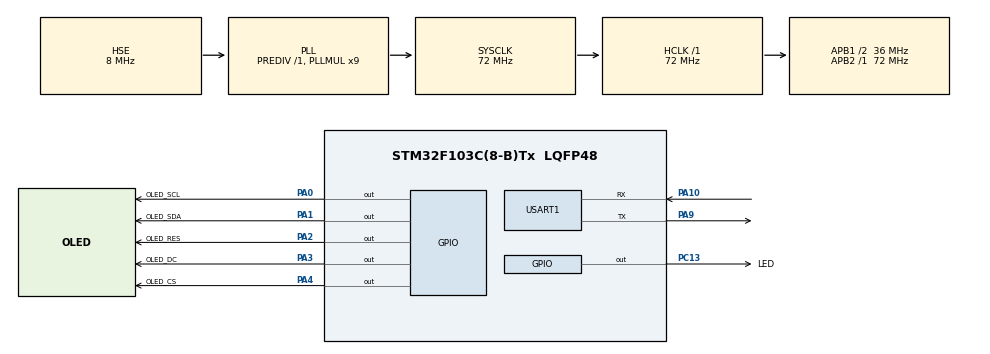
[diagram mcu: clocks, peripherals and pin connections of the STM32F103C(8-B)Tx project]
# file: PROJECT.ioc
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Dma.Request0=USART1_RX
Dma.USART1_RX.0.Direction=DMA_PERIPH_TO_MEMORY
Dma.USART1_RX.0.Instance=DMA1_Channel5
Dma.USART1_RX.0.MemDataAlignment=DMA_MDATAALIGN_BYTE
Dma.USART1_RX.0.MemInc=DMA_MINC_ENABLE
Dma.USART1_RX.0.Mode=DMA_NORMAL
Dma.USART1_RX.0.PeriphDataAlignment=DMA_PDATAALIGN_BYTE
Dma.USART1_RX.0.PeriphInc=DMA_PINC_DISABLE
Dma.USART1_RX.0.Priority=DMA_PRIORITY_HIGH
Mcu.Family=STM32F1
Mcu.Name=STM32F103C(8-B)Tx
Mcu.Package=LQFP48
NVIC.DMA1_Channel5_IRQn=true\:0\:0\:false\:false\:true\:false\:true\:true
NVIC.PriorityGroup=NVIC_PRIORITYGROUP_4
NVIC.USART1_IRQn=true\:1\:0\:true\:false\:true\:true\:true\:true
PA0-WKUP.GPIO_Label=OLED_SCL
PA0-WKUP.GPIO_Speed=GPIO_SPEED_FREQ_HIGH
PA0-WKUP.PinState=GPIO_PIN_SET
PA0-WKUP.Signal=GPIO_Output
PA1.GPIO_Label=OLED_SDA
PA1.GPIO_Speed=GPIO_SPEED_FREQ_HIGH
PA1.PinState=GPIO_PIN_SET
PA1.Signal=GPIO_Output
PA10.Mode=Asynchronous
PA10.Signal=USART1_RX
PA13.Mode=Serial_Wire
PA13.Signal=SYS_JTMS-SWDIO
PA14.Mode=Serial_Wire
PA14.Signal=SYS_JTCK-SWCLK
PA2.GPIO_Label=OLED_RES
PA2.GPIO_Speed=GPIO_SPEED_FREQ_HIGH
PA2.PinState=GPIO_PIN_SET
PA2.Signal=GPIO_Output
PA3.GPIO_Label=OLED_DC
PA3.GPIO_Speed=GPIO_SPEED_FREQ_HIGH
PA3.PinState=GPIO_PIN_SET
PA3.Signal=GPIO_Output
PA4.GPIO_Label=OLED_CS
PA4.GPIO_Speed=GPIO_SPEED_FREQ_HIGH
PA4.PinState=GPIO_PIN_SET
PA4.Signal=GPIO_Output
PA9.Mode=Asynchronous
PA9.Signal=USART1_TX
PC13-TAMPER-RTC.GPIO_Label=LED
PC13-TAMPER-RTC.Signal=GPIO_Output
PC14-OSC32_IN.Mode=LSE-External-Oscillator
PC14-OSC32_IN.Signal=RCC_OSC32_IN
PC15-OSC32_OUT.Mode=LSE-External-Oscillator
PC15-OSC32_OUT.Signal=RCC_OSC32_OUT
PD0-OSC_IN.Mode=HSE-External-Oscillator
PD0-OSC_IN.Signal=RCC_OSC_IN
PD1-OSC_OUT.Mode=HSE-External-Oscillator
PD1-OSC_OUT.Signal=RCC_OSC_OUT
ProjectManager.HeapSize=0x200
ProjectManager.StackSize=0x400
ProjectManager.TargetToolchain=MDK-ARM V5.32
RCC.ADCPresc=RCC_ADCPCLK2_DIV6
RCC.AHBFreq_Value=72000000
RCC.APB1CLKDivider=RCC_HCLK_DIV2
RCC.APB1Freq_Value=36000000
RCC.APB1TimFreq_Value=72000000
RCC.APB2Freq_Value=72000000
RCC.APB2TimFreq_Value=72000000
RCC.HCLKFreq_Value=72000000
RCC.PLLMUL=RCC_PLL_MUL9
RCC.PLLSourceVirtual=RCC_PLLSOURCE_HSE
RCC.SYSCLKFreq_VALUE=72000000
RCC.SYSCLKSource=RCC_SYSCLKSOURCE_PLLCLK
RCC.USBFreq_Value=72000000
USART1.VirtualMode=VM_ASYNC
board=custom

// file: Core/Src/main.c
/* USER CODE BEGIN Header */
/**
  ******************************************************************************
  * @file           : main.c
  * @brief          : Main program body
  ******************************************************************************
  * @attention
  *
  * Copyright (c) 2024 STMicroelectronics.
  * All rights reserved.
  *
  * This software is licensed under terms that can be found in the LICENSE file
  * in the root directory of this software component.
  * If no LICENSE file comes with this software, it is provided AS-IS.
  *
  ******************************************************************************
  */
/* USER CODE END Header */
#include "main.h"
#include "dma.h"
#include "usart.h"
#include "gpio.h"

/* USER CODE BEGIN Includes */

#include "stdio.h"
#include "bsp_uart.h"

/* USER CODE END Includes */

/* USER CODE BEGIN PTD */

uint8_t app_debug_rx_buff[1024];

/* USER CODE END PTD */

void SystemClock_Config(void);

int main(void)
{
    /* USER CODE BEGIN 1 */

    uint32_t time_cnt;

    /* USER CODE END 1 */

    /* MCU Configuration--------------------------------------------------------*/

    /* Reset of all peripherals, Initializes the Flash interface and the Systick. */
    HAL_Init();

    /* Configure the system clock */
    SystemClock_Config();

    /* Initialize all configured peripherals */
    MX_GPIO_Init();
    MX_DMA_Init();
    MX_USART1_UART_Init();
    /* USER CODE BEGIN 2 */

    bsp_uart_init();
    bsp_debug_poll_printf("Test Code 1\r\n");
    bsp_debug_poll_printf("Test Code 2\r\n");
    bsp_debug_poll_printf("Test Code 3\r\n");
    bsp_debug_poll_printf("Test Code 4\r\n");
    bsp_debug_poll_printf("Test Code 5\r\n");

    /* USER CODE END 2 */

    /* Infinite loop */
    while (1)
    {

        /* USER CODE BEGIN 3 */

        if(debug.rx_finish)
        {
			fifo_read(debug.rx_fifo, app_debug_rx_buff, debug.rx_count);
			bsp_debug_poll_send_data(app_debug_rx_buff, debug.rx_count);
			bsp_debug_rx_finish_clear();
        }

        if(++time_cnt >= 1000)
        {
            time_cnt = 0;
            HAL_GPIO_TogglePin(LED_GPIO_Port, LED_Pin);
        }

        HAL_Delay(1);

    }
    /* USER CODE END 3 */
}

void SystemClock_Config(void)
{
    RCC_OscInitTypeDef RCC_OscInitStruct = {0};
    RCC_ClkInitTypeDef RCC_ClkInitStruct = {0};

    /** Initializes the RCC Oscillators according to the specified parameters
    * in the RCC_OscInitTypeDef structure.
    */
    RCC_OscInitStruct.OscillatorType = RCC_OSCILLATORTYPE_HSE;
    RCC_OscInitStruct.HSEState = RCC_HSE_ON;
    RCC_OscInitStruct.HSEPredivValue = RCC_HSE_PREDIV_DIV1;
    RCC_OscInitStruct.HSIState = RCC_HSI_ON;
    RCC_OscInitStruct.PLL.PLLState = RCC_PLL_ON;
    RCC_OscInitStruct.PLL.PLLSource = RCC_PLLSOURCE_HSE;
    RCC_OscInitStruct.PLL.PLLMUL = RCC_PLL_MUL9;
    if (HAL_RCC_OscConfig(&RCC_OscInitStruct) != HAL_OK)
    {
        Error_Handler();
    }

    /** Initializes the CPU, AHB and APB buses clocks
    */
    RCC_ClkInitStruct.ClockType = RCC_CLOCKTYPE_HCLK | RCC_CLOCKTYPE_SYSCLK
                                  | RCC_CLOCKTYPE_PCLK1 | RCC_CLOCKTYPE_PCLK2;
    RCC_ClkInitStruct.SYSCLKSource = RCC_SYSCLKSOURCE_PLLCLK;
    RCC_ClkInitStruct.AHBCLKDivider = RCC_SYSCLK_DIV1;
    RCC_ClkInitStruct.APB1CLKDivider = RCC_HCLK_DIV2;
    RCC_ClkInitStruct.APB2CLKDivider = RCC_HCLK_DIV1;

    if (HAL_RCC_ClockConfig(&RCC_ClkInitStruct, FLASH_LATENCY_2) != HAL_OK)
    {
        Error_Handler();
    }
}

void Error_Handler(void)
{
    __disable_irq();
    while (1)
    {
    }
}
